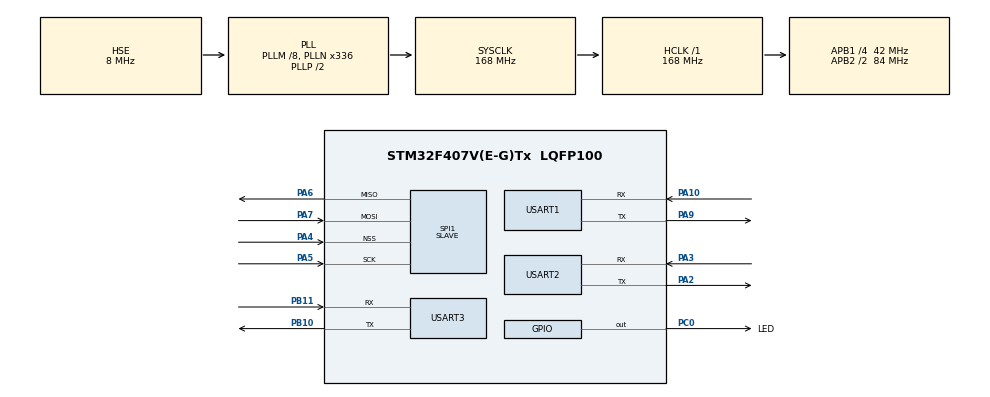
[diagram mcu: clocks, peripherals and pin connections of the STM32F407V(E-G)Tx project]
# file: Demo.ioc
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Dma.Request0=SPI1_RX
Dma.SPI1_RX.0.Direction=DMA_PERIPH_TO_MEMORY
Dma.SPI1_RX.0.FIFOMode=DMA_FIFOMODE_DISABLE
Dma.SPI1_RX.0.Instance=DMA2_Stream0
Dma.SPI1_RX.0.MemDataAlignment=DMA_MDATAALIGN_BYTE
Dma.SPI1_RX.0.MemInc=DMA_MINC_ENABLE
Dma.SPI1_RX.0.Mode=DMA_CIRCULAR
Dma.SPI1_RX.0.PeriphDataAlignment=DMA_PDATAALIGN_BYTE
Dma.SPI1_RX.0.PeriphInc=DMA_PINC_DISABLE
Dma.SPI1_RX.0.Priority=DMA_PRIORITY_HIGH
FREERTOS.Tasks01=defaultTask,0,128,StartDefaultTask,Default,NULL,Dynamic,NULL,NULL
FREERTOS.Timers01=wdi,wdi_handle,osTimerPeriodic,Default,NULL,Dynamic,NULL
FREERTOS.configGENERATE_RUN_TIME_STATS=1
FREERTOS.configUSE_STATS_FORMATTING_FUNCTIONS=1
FREERTOS.configUSE_TIMERS=1
IWDG.Prescaler=IWDG_PRESCALER_32
IWDG.Reload=999
Mcu.Family=STM32F4
Mcu.Name=STM32F407V(E-G)Tx
Mcu.Package=LQFP100
NVIC.DMA2_Stream0_IRQn=true\:5\:0\:false\:false\:true\:true\:false\:true\:true
NVIC.PriorityGroup=NVIC_PRIORITYGROUP_4
NVIC.TIM1_UP_TIM10_IRQn=true\:15\:0\:false\:false\:true\:false\:false\:true\:true
NVIC.TimeBase=TIM1_UP_TIM10_IRQn
NVIC.TimeBaseIP=TIM1
NVIC.USART1_IRQn=true\:5\:0\:false\:false\:true\:true\:true\:true\:true
NVIC.USART2_IRQn=true\:5\:0\:false\:false\:true\:true\:true\:true\:true
NVIC.USART3_IRQn=true\:5\:0\:false\:false\:true\:true\:true\:true\:true
PA10.Mode=Asynchronous
PA10.Signal=USART1_RX
PA13.Mode=Serial_Wire
PA13.Signal=SYS_JTMS-SWDIO
PA14.Mode=Serial_Wire
PA14.Signal=SYS_JTCK-SWCLK
PA2.Mode=Asynchronous
PA2.Signal=USART2_TX
PA3.Mode=Asynchronous
PA3.Signal=USART2_RX
PA4.Mode=NSS_Signal_Hard_Input
PA4.Signal=SPI1_NSS
PA5.Mode=Full_Duplex_Slave
PA5.Signal=SPI1_SCK
PA6.Mode=Full_Duplex_Slave
PA6.Signal=SPI1_MISO
PA7.Mode=Full_Duplex_Slave
PA7.Signal=SPI1_MOSI
PA9.Mode=Asynchronous
PA9.Signal=USART1_TX
PB10.Mode=Asynchronous
PB10.Signal=USART3_TX
PB11.Mode=Asynchronous
PB11.Signal=USART3_RX
PC0.GPIO_Label=LED
PC0.Signal=GPIO_Output
PH0-OSC_IN.Mode=HSE-External-Oscillator
PH0-OSC_IN.Signal=RCC_OSC_IN
PH1-OSC_OUT.Mode=HSE-External-Oscillator
PH1-OSC_OUT.Signal=RCC_OSC_OUT
ProjectManager.HeapSize=0x200
ProjectManager.StackSize=0x400
ProjectManager.TargetToolchain=CMake
RCC.48MHZClocksFreq_Value=84000000
RCC.AHBFreq_Value=168000000
RCC.APB1CLKDivider=RCC_HCLK_DIV4
RCC.APB1Freq_Value=42000000
RCC.APB1TimFreq_Value=84000000
RCC.APB2CLKDivider=RCC_HCLK_DIV2
RCC.APB2Freq_Value=84000000
RCC.APB2TimFreq_Value=168000000
RCC.CortexFreq_Value=168000000
RCC.HCLKFreq_Value=168000000
RCC.HSE_VALUE=8000000
RCC.HSI_VALUE=16000000
RCC.LSE_VALUE=32768
RCC.PLLM=8
RCC.PLLN=336
RCC.PLLSourceVirtual=RCC_PLLSOURCE_HSE
RCC.SYSCLKFreq_VALUE=168000000
RCC.SYSCLKSource=RCC_SYSCLKSOURCE_PLLCLK
RCC.VCOOutputFreq_Value=336000000
SPI1.Direction=SPI_DIRECTION_2LINES
SPI1.Mode=SPI_MODE_SLAVE
SPI1.VirtualNSS=VM_NSSHARD
SPI1.VirtualType=VM_SLAVE
USART1.VirtualMode=VM_ASYNC
USART2.VirtualMode=VM_ASYNC
USART3.VirtualMode=VM_ASYNC
VP_FREERTOS_VS_CMSIS_V1.Mode=CMSIS_V1
VP_IWDG_VS_IWDG.Mode=IWDG_Activate
VP_SYS_VS_tim1.Mode=TIM1
board=custom

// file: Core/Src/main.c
/* USER CODE BEGIN Header */
/**
  ******************************************************************************
  * @file           : main.c
  * @brief          : Main program body
  ******************************************************************************
  * @attention
  *
  * Copyright (c) 2026 STMicroelectronics.
  * All rights reserved.
  *
  * This software is licensed under terms that can be found in the LICENSE file
  * in the root directory of this software component.
  * If no LICENSE file comes with this software, it is provided AS-IS.
  *
  ******************************************************************************
  */
/* USER CODE END Header */
#include "main.h"
#include "cmsis_os.h"
#include "dma.h"
#include "iwdg.h"
#include "spi.h"
#include "usart.h"
#include "gpio.h"

void SystemClock_Config(void);
void MX_FREERTOS_Init(void);

int main(void)
{

  /* USER CODE BEGIN 1 */
  #define APP_FLASH_ADDR  0x08020000

  SCB->VTOR = APP_FLASH_ADDR;
  // __enable_irq();
  /* USER CODE END 1 */

  /* MCU Configuration--------------------------------------------------------*/

  /* Reset of all peripherals, Initializes the Flash interface and the Systick. */
  HAL_Init();

  /* Configure the system clock */
  SystemClock_Config();

  /* Initialize all configured peripherals */
  MX_GPIO_Init();
  MX_DMA_Init();
  MX_IWDG_Init();
  MX_USART1_UART_Init();
  MX_SPI1_Init();
  MX_USART2_UART_Init();
  MX_USART3_UART_Init();
  /* USER CODE BEGIN 2 */
  HAL_UART_Receive_IT(&huart1, &debug_rx_data, 1);
  HAL_UART_Receive_IT(&huart2, &wifi_rx_data, 1);
  /* USER CODE END 2 */

  /* Call init function for freertos objects (in cmsis_os2.c) */
  MX_FREERTOS_Init();

  /* Start scheduler */
  osKernelStart();

  /* We should never get here as control is now taken by the scheduler */

  /* Infinite loop */
  while (1)
  {

  }
}

void SystemClock_Config(void)
{
  RCC_OscInitTypeDef RCC_OscInitStruct = {0};
  RCC_ClkInitTypeDef RCC_ClkInitStruct = {0};

  /** Configure the main internal regulator output voltage
  */
  __HAL_RCC_PWR_CLK_ENABLE();
  __HAL_PWR_VOLTAGESCALING_CONFIG(PWR_REGULATOR_VOLTAGE_SCALE1);

  /** Initializes the RCC Oscillators according to the specified parameters
  * in the RCC_OscInitTypeDef structure.
  */
  RCC_OscInitStruct.OscillatorType = RCC_OSCILLATORTYPE_LSI|RCC_OSCILLATORTYPE_HSE;
  RCC_OscInitStruct.HSEState = RCC_HSE_ON;
  RCC_OscInitStruct.LSIState = RCC_LSI_ON;
  RCC_OscInitStruct.PLL.PLLState = RCC_PLL_ON;
  RCC_OscInitStruct.PLL.PLLSource = RCC_PLLSOURCE_HSE;
  RCC_OscInitStruct.PLL.PLLM = 8;
  RCC_OscInitStruct.PLL.PLLN = 336;
  RCC_OscInitStruct.PLL.PLLP = RCC_PLLP_DIV2;
  RCC_OscInitStruct.PLL.PLLQ = 4;
  if (HAL_RCC_OscConfig(&RCC_OscInitStruct) != HAL_OK)
  {
    Error_Handler();
  }

  /** Initializes the CPU, AHB and APB buses clocks
  */
  RCC_ClkInitStruct.ClockType = RCC_CLOCKTYPE_HCLK|RCC_CLOCKTYPE_SYSCLK
                              |RCC_CLOCKTYPE_PCLK1|RCC_CLOCKTYPE_PCLK2;
  RCC_ClkInitStruct.SYSCLKSource = RCC_SYSCLKSOURCE_PLLCLK;
  RCC_ClkInitStruct.AHBCLKDivider = RCC_SYSCLK_DIV1;
  RCC_ClkInitStruct.APB1CLKDivider = RCC_HCLK_DIV4;
  RCC_ClkInitStruct.APB2CLKDivider = RCC_HCLK_DIV2;

  if (HAL_RCC_ClockConfig(&RCC_ClkInitStruct, FLASH_LATENCY_5) != HAL_OK)
  {
    Error_Handler();
  }
}

void HAL_TIM_PeriodElapsedCallback(TIM_HandleTypeDef *htim)
{
  if (htim->Instance == TIM1)
  {
    HAL_IncTick();
  }
}

void Error_Handler(void)
{
  __disable_irq();
  while (1)
  {
  }
}

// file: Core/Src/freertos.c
/* USER CODE BEGIN Header */
/**
  ******************************************************************************
  * File Name          : freertos.c
  * Description        : Code for freertos applications
  ******************************************************************************
  * @attention
  *
  * Copyright (c) 2026 STMicroelectronics.
  * All rights reserved.
  *
  * This software is licensed under terms that can be found in the LICENSE file
  * in the root directory of this software component.
  * If no LICENSE file comes with this software, it is provided AS-IS.
  *
  ******************************************************************************
  */
/* USER CODE END Header */

#include "FreeRTOS.h"
#include "task.h"
#include "main.h"
#include "cmsis_os.h"

/* USER CODE BEGIN Includes */
#include "../../Middlewares/Task/k_task.h"
#include "../../Middlewares/Log/log.h"
#include "../../Middlewares/global.h"
#include "iwdg.h"
/* USER CODE END Includes */

osThreadId defaultTaskHandle;
osTimerId wdiHandle;

/* USER CODE BEGIN FunctionPrototypes */
QueueHandle_t wifiQueueHandle = NULL;
QueueHandle_t logQueueHandle = NULL;
/* USER CODE END FunctionPrototypes */

void StartDefaultTask(void const * argument);
void wdi_handle(void const * argument);

void MX_FREERTOS_Init(void); /* (MISRA C 2004 rule 8.1) */

/* GetIdleTaskMemory prototype (linked to static allocation support) */
void vApplicationGetIdleTaskMemory( StaticTask_t **ppxIdleTaskTCBBuffer, StackType_t **ppxIdleTaskStackBuffer, uint32_t *pulIdleTaskStackSize );

/* GetTimerTaskMemory prototype (linked to static allocation support) */
void vApplicationGetTimerTaskMemory( StaticTask_t **ppxTimerTaskTCBBuffer, StackType_t **ppxTimerTaskStackBuffer, uint32_t *pulTimerTaskStackSize );

/* Hook prototypes */
void configureTimerForRunTimeStats(void);
unsigned long getRunTimeCounterValue(void);

/* USER CODE BEGIN 1 */
/* Functions needed when configGENERATE_RUN_TIME_STATS is on */
__weak void configureTimerForRunTimeStats(void)
{

}

__weak unsigned long getRunTimeCounterValue(void)
{
  return xTaskGetTickCount();
}
/* USER CODE END 1 */

/* USER CODE BEGIN GET_IDLE_TASK_MEMORY */
static StaticTask_t xIdleTaskTCBBuffer;
static StackType_t xIdleStack[configMINIMAL_STACK_SIZE];

void vApplicationGetIdleTaskMemory( StaticTask_t **ppxIdleTaskTCBBuffer, StackType_t **ppxIdleTaskStackBuffer, uint32_t *pulIdleTaskStackSize )
{
  *ppxIdleTaskTCBBuffer = &xIdleTaskTCBBuffer;
  *ppxIdleTaskStackBuffer = &xIdleStack[0];
  *pulIdleTaskStackSize = configMINIMAL_STACK_SIZE;
  /* place for user code */
}
/* USER CODE END GET_IDLE_TASK_MEMORY */

/* USER CODE BEGIN GET_TIMER_TASK_MEMORY */
static StaticTask_t xTimerTaskTCBBuffer;
static StackType_t xTimerStack[configTIMER_TASK_STACK_DEPTH];

void vApplicationGetTimerTaskMemory( StaticTask_t **ppxTimerTaskTCBBuffer, StackType_t **ppxTimerTaskStackBuffer, uint32_t *pulTimerTaskStackSize )
{
  *ppxTimerTaskTCBBuffer = &xTimerTaskTCBBuffer;
  *ppxTimerTaskStackBuffer = &xTimerStack[0];
  *pulTimerTaskStackSize = configTIMER_TASK_STACK_DEPTH;
  /* place for user code */
}
/* USER CODE END GET_TIMER_TASK_MEMORY */

void MX_FREERTOS_Init(void) {

  /* Create the timer(s) */
  /* definition and creation of wdi */
  osTimerDef(wdi, wdi_handle);
  wdiHandle = osTimerCreate(osTimer(wdi), osTimerPeriodic, NULL);

  /* USER CODE BEGIN RTOS_TIMERS */
  /* start timers, add new ones, ... */
  osTimerStart(wdiHandle, 500);
  /* USER CODE END RTOS_TIMERS */

  /* USER CODE BEGIN RTOS_QUEUES */
  /* add queues, ... */

  wifiQueueHandle = xQueueCreate(3, 1024);
  logQueueHandle = xQueueCreate(10, 256);
  // osMessageQDef(logQueue, 10, 256);
  // logQueueHandle = osMessageCreate(osMessageQ(logQueue), NULL);
  /* USER CODE END RTOS_QUEUES */

  /* Create the thread(s) */
  /* definition and creation of defaultTask */
  osThreadDef(defaultTask, StartDefaultTask, osPriorityNormal, 0, 128);
  defaultTaskHandle = osThreadCreate(osThread(defaultTask), NULL);

}

void StartDefaultTask(void const * argument)
{
  /* USER CODE BEGIN StartDefaultTask */
  extern void system_info();
  system_info();

  k_system_init();
  k_start_tasks();

  vTaskDelete(NULL);
  /* Infinite loop */
  for(;;)
  {
    osDelay(10);
  }
  /* USER CODE END StartDefaultTask */
}

/* wdi_handle function */
void wdi_handle(void const * argument)
{
  /* USER CODE BEGIN wdi_handle */
  feed_dog();
  /* USER CODE END wdi_handle */
}
